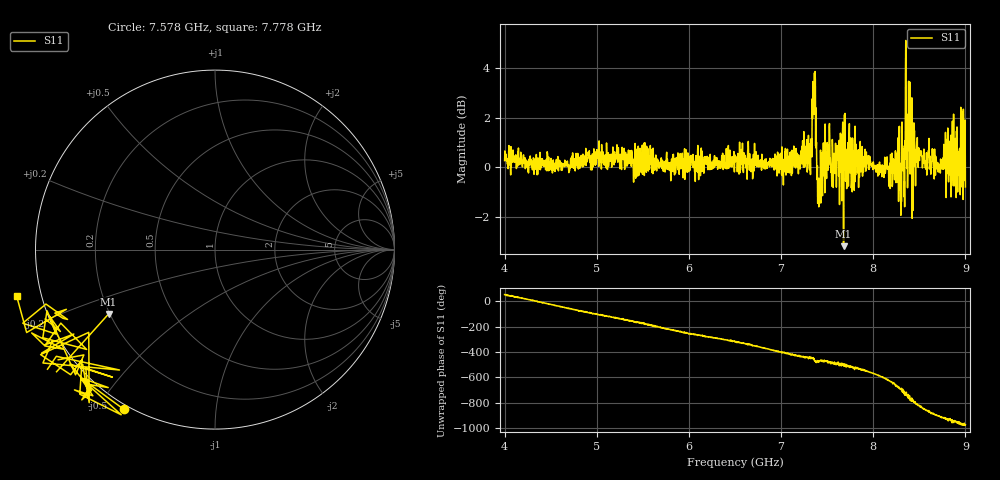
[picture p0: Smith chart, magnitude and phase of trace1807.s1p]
! Created with skrf 1.8.0 (http://scikit-rf.org).
# Hz S RI R 50.0
!freq ReS11 ImS11
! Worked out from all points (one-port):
!   1601 points, 4 GHz to 9 GHz, reference 50 ohm
!   lowest |S11| = -3.2 dB at 7.678 GHz (marker M1), VSWR 5.51, Z = 9.75 - j13.4 ohm
!   |S11| at or under -10 dB: nowhere
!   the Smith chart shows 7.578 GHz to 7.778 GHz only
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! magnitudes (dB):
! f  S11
! 4 GHz  0.3
! 4.625 GHz  -0.1
! 5.25 GHz  -0.1
! 5.875 GHz  0.1
! 6.5 GHz  0.5
! 7.125 GHz  0.4
! 7.309 GHz  -0.1
! 7.353 GHz  2.9
! 7.369 GHz  3.9
! 7.4 GHz  -1.3
! 7.412 GHz  -0.9
! 7.503 GHz  0.9
! 7.562 GHz  -0.1
! 7.678 GHz  -3.2
! 7.75 GHz  0.0
! 7.769 GHz  -0.4
! 8.188 GHz  0.5
! 8.259 GHz  0.6
! 8.316 GHz  0.3
! 8.334 GHz  -1.2
! 8.35 GHz  3.8
! 8.375 GHz  -0.1
! 8.412 GHz  0.5
! 8.447 GHz  1.5
! 8.459 GHz  -0.7
! 8.712 GHz  0.0
! 8.972 GHz  0.6
! 9 GHz  -0.8
